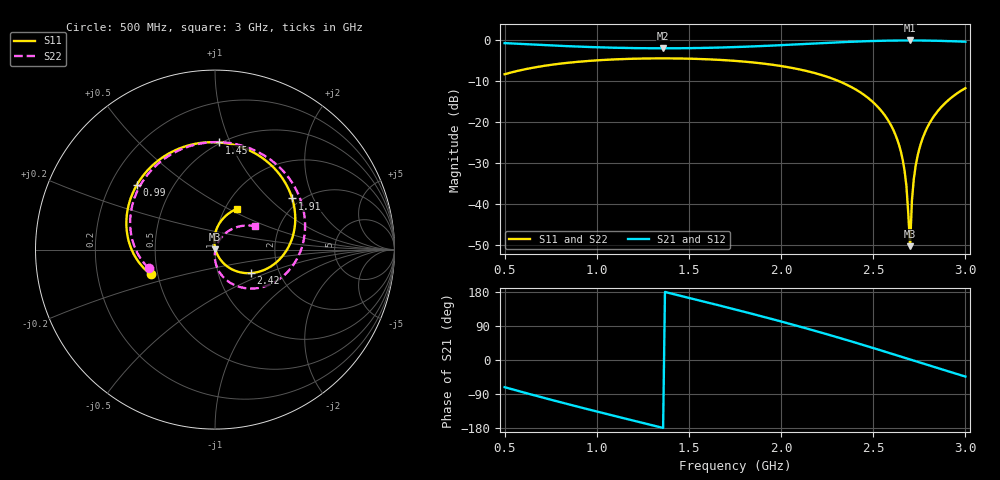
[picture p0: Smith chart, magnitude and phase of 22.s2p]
!freq-unit  param-type  data-format  keyword  impedance-ohms
# GHZ  S  RI  R  50
!Freq  ReS11  ImS11  ReS21  ImS21  ReS12  ImS12  ReS22  ImS22
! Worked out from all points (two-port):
!   251 points, 500 MHz to 3 GHz, reference 50 ohm
!   highest |S21| = -0.07 dB at 2.7 GHz (marker M1); lowest = -2.0 dB at 1.36 GHz (marker M2)
!   |S21| within 3 dB of the highest: start of sweep to end of sweep
!   lowest |S11| = -50.3 dB at 2.7 GHz (marker M3), VSWR 1.01, Z = 50.2 + j0.236 ohm
!   |S11| at or under -10 dB: 2.313 GHz to end of sweep
!   |S22| runs from -50.0 to -4.4 dB; largest |S21 - S12| = 0
!   S11 on the Smith chart (normalised r, x): 500 MHz: 0.46, -0.15; 990 MHz: 0.31, +0.33; 1.45 GHz: 0.49, +0.91; 1.91 GHz: 1.81, +1.40; 2.42 GHz: 1.43, -0.40; 3 GHz: 1.14, +0.56
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0.5  -0.3585 -0.1361  0.2887 -0.8746  0.2887 -0.8746  -0.3694 -0.1029
0.69  -0.4753 0.0283  -0.1061 -0.8699  -0.1061 -0.8699  -0.4678 0.088
0.92  -0.4701 0.2851  -0.4894 -0.6724  -0.4894 -0.6724  -0.4151 0.3603
0.99  -0.4362 0.3591  -0.5773 -0.5841  -0.5773 -0.5841  -0.3635 0.4324
1.34  -0.1069 0.59  -0.7944 -0.0436  -0.7944 -0.0436  0.0417 0.5979
1.36  -0.0833 0.5939  -0.7955 -0.0104  -0.7955 -0.0104  0.0677 0.5956
1.45  0.024 0.597  -0.7848 0.1389  -0.7848 0.1389  0.182 0.5688
1.75  0.3375 0.4455  -0.5667 0.5977  -0.5667 0.5977  0.4618 0.3144
1.91  0.4298 0.2853  -0.3369 0.7812  -0.3369 0.7812  0.5018 0.1187
2.17  0.4037 0.0042  0.1747 0.8915  0.1747 0.8915  0.3733 -0.1532
2.42  0.1991 -0.1311  0.7002 0.6628  0.7002 0.6628  0.1236 -0.2037
2.59  0.0529 -0.0812  0.939 0.3068  0.939 0.3068  0.0101 -0.0963
2.64  0.0238 -0.0467  0.9744 0.1811  0.9744 0.1811  -0.000443 -0.0524
2.67  0.011 -0.023  0.9867 0.1032  0.9867 0.1032  -0.00096 -0.0255
2.68  0.00752 -0.0147  0.9893 0.077  0.9893 0.077  -0.000149 -0.0165
2.7  0.00193 0.00235  0.9921 0.0244  0.9921 0.0244  0.00294 0.00113
2.71  -0.000202 0.0111  0.9923 -0.00189  0.9923 -0.00189  0.0052 0.00982
2.72  -0.00188 0.0199  0.9917 -0.0282  0.9917 -0.0282  0.00795 0.0184
2.74  -0.00388 0.0378  0.9883 -0.0807  0.9883 -0.0807  0.0148 0.035
2.77  -0.00342 0.0649  0.9773 -0.1588  0.9773 -0.1588  0.0285 0.0584
2.86  0.0224 0.1428  0.9046 -0.381  0.9046 -0.381  0.0906 0.1126
3  0.1241 0.2279  0.6927 -0.6612  0.6927 -0.6612  0.2243 0.1301
